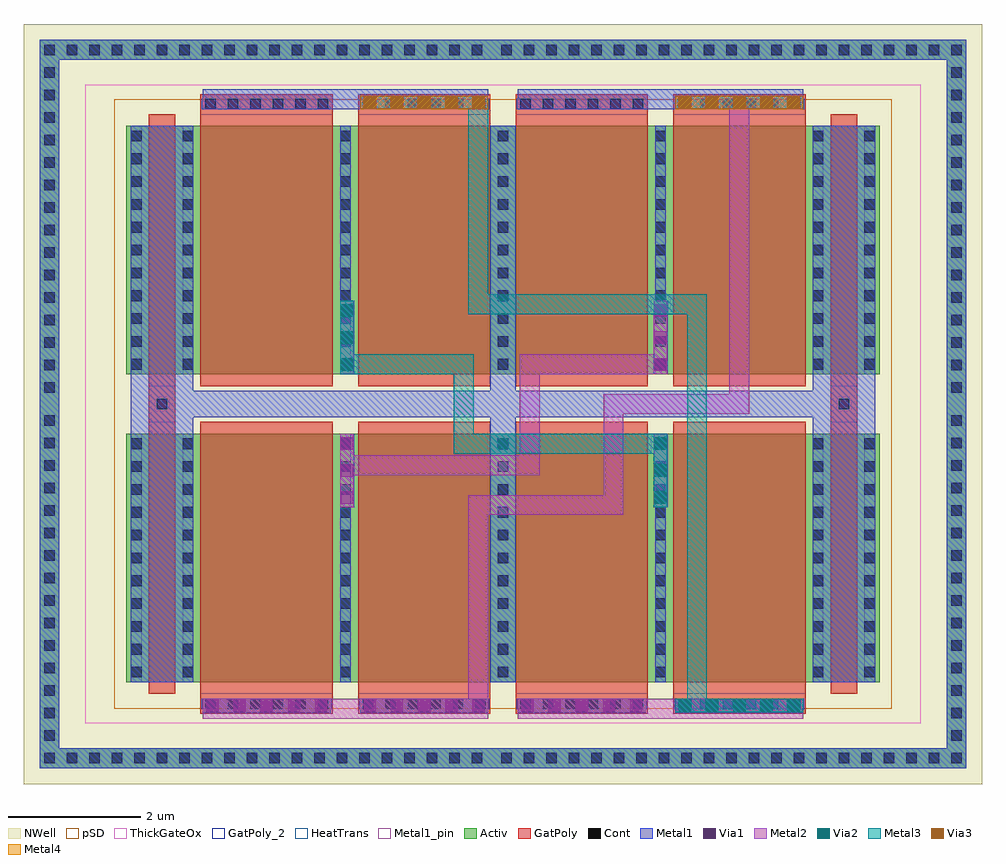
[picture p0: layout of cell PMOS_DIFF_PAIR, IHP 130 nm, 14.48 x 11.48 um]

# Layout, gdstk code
import gdstk
lib = gdstk.Library(unit=1e-6, precision=1e-09)
def R(c, l, rs):  # rectangles x0, y0, x1, y1
    for r in rs: c.add(gdstk.rectangle(r[:2], r[2:], *l))
def A(c, l, x, y, w, h, nx, ny, dx, dy):  # array of equal rectangles
    R(c, l, [(x+i*dx, y+j*dy, x+i*dx+w, y+j*dy+h) for i in range(nx) for j in range(ny)])
def P(c, l, *ps):  # polygons
    for p in ps: c.add(gdstk.Polygon(p, *l))
Activ = (1, 0)
GatPoly = (5, 0)
GatPoly_2 = (5, 2)
Cont = (6, 0)
Metal1 = (8, 0)
Metal1_pin = (8, 2)
Metal2 = (10, 0)
pSD = (14, 0)
Via1 = (19, 0)
Via2 = (29, 0)
Metal3 = (30, 0)
NWell = (31, 0)
ThickGateOx = (44, 0)
Via3 = (49, 0)
Metal4 = (50, 0)
HeatTrans = (51, 0)

guard_ring_3 = lib.new_cell('guard_ring$3')
R(guard_ring_3, Activ, [(-7,-5.2,-6.7,5.2), (6.7,-5.2,7,5.2), (-7,5.2,7,5.5)])
P(guard_ring_3, Activ, [(-7,-5.5),(-7,5.2),(-6.7,5.2),(-6.7,-5.2),(6.7,-5.2),(6.7,5.2),(-7,5.2),(-7,5.5),(7,5.5),(7,-5.5)])
A(guard_ring_3, Cont, -6.93, -5.43, 0.16, 0.16, 20, 2, 0.34, 10.7)
A(guard_ring_3, Cont, -0.03, -5.43, 0.16, 0.16, 21, 2, 0.34, 10.7)
A(guard_ring_3, Cont, -6.93, -5.09, 0.16, 0.16, 1, 15, 0, 0.34)
A(guard_ring_3, Cont, 6.77, -5.09, 0.16, 0.16, 1, 15, 0, 0.34)
A(guard_ring_3, Cont, -6.93, 0.17, 0.16, 0.16, 1, 15, 0, 0.34)
A(guard_ring_3, Cont, 6.77, 0.17, 0.16, 0.16, 1, 15, 0, 0.34)
R(guard_ring_3, Metal1, [(-7,-5.5,7,-5.2), (-7,-5.2,-6.7,5.2), (6.7,-5.2,7,5.2), (-7,5.2,7,5.5)])
R(guard_ring_3, NWell, [(-7.24,-5.74,7.24,5.74)])
guard_ring_3.add(gdstk.Label('well', (0,-5.35), layer=63, texttype=0))

pmoshv_2 = lib.new_cell('pmosHV$2')
A(pmoshv_2, Activ, 0, 0, 0.3, 0.3, 5, 1, 2.38, 0)
R(pmoshv_2, Activ, [(0,0,9.82,3.75)])
A(pmoshv_2, GatPoly, 0.34, -0.18, 2, 4.11, 4, 1, 2.38, 0)
R(pmoshv_2, GatPoly_2, [(0.34,-0.18,2.34,3.93)])
A(pmoshv_2, Cont, 0.07, 0.07, 0.16, 0.16, 5, 11, 2.38, 0.345)
A(pmoshv_2, Metal1, 0.07, 0, 0.16, 3.75, 5, 1, 2.38, 0)
R(pmoshv_2, Metal1_pin, [(0.07,0,0.23,3.75), (2.45,0,2.61,3.75)])
R(pmoshv_2, pSD, [(-0.18,-0.4,10,4.15)])
R(pmoshv_2, NWell, [(-0.62,-0.62,10.44,4.37)])
R(pmoshv_2, ThickGateOx, [(-0.62,-0.62,10.44,4.37)])
A(pmoshv_2, HeatTrans, 0.34, -0.18, 2, 4.11, 4, 1, 2.38, 0)
pmoshv_2.add(gdstk.Label('pmosHV', (1.34,1.875), layer=63, texttype=0))
pmoshv_2.add(gdstk.Label('pmos', (1.34,1.875), layer=51, texttype=0))
pmoshv_2.add(gdstk.Label('pmos', (3.72,1.875), layer=51, texttype=0))
pmoshv_2.add(gdstk.Label('pmos', (6.1,1.875), layer=51, texttype=0))
pmoshv_2.add(gdstk.Label('pmos', (8.48,1.875), layer=51, texttype=0))

via_stack_1 = lib.new_cell('via_stack$1')
R(via_stack_1, GatPoly, [(-1,-0.15,1,0.15)])
A(via_stack_1, Cont, -0.93, -0.08, 0.16, 0.16, 6, 1, 0.34, 0)
R(via_stack_1, Metal1, [(-0.98,-0.08,0.98,0.08)])

via_stack_3 = lib.new_cell('via_stack$3')
R(via_stack_3, Metal1, [(-0.965,-0.105,0.965,0.105)])
R(via_stack_3, Metal2, [(-0.965,-0.1,0.965,0.1)])
A(via_stack_3, Via1, -0.915, -0.095, 0.19, 0.19, 5, 1, 0.41, 0)
A(via_stack_3, Via2, -0.915, -0.095, 0.19, 0.19, 5, 1, 0.41, 0)
R(via_stack_3, Metal3, [(-0.965,-0.1,0.965,0.1)])
A(via_stack_3, Via3, -0.915, -0.095, 0.19, 0.19, 5, 1, 0.41, 0)
R(via_stack_3, Metal4, [(-0.965,-0.1,0.965,0.1)])

via_stack_2 = lib.new_cell('via_stack$2')
R(via_stack_2, Metal1, [(-0.965,-0.105,0.965,0.105)])
R(via_stack_2, Metal2, [(-0.965,-0.1,0.965,0.1)])
A(via_stack_2, Via1, -0.915, -0.095, 0.19, 0.19, 5, 1, 0.41, 0)
A(via_stack_2, Via2, -0.915, -0.095, 0.19, 0.19, 5, 1, 0.41, 0)
R(via_stack_2, Metal3, [(-0.965,-0.1,0.965,0.1)])

pmoshv_1 = lib.new_cell('pmosHV$1')
R(pmoshv_1, Activ, [(0,0,0.3,0.3), (0,0,1.08,3.75), (0.78,0,1.08,0.3)])
R(pmoshv_1, GatPoly, [(0.34,-0.18,0.74,3.93)])
R(pmoshv_1, GatPoly_2, [(0.34,-0.18,0.74,3.93)])
A(pmoshv_1, Cont, 0.07, 0.07, 0.16, 0.16, 1, 11, 0, 0.345)
A(pmoshv_1, Cont, 0.85, 0.07, 0.16, 0.16, 1, 11, 0, 0.345)
R(pmoshv_1, Metal1, [(0.07,0,0.23,3.75), (0.85,0,1.01,3.75)])
R(pmoshv_1, Metal1_pin, [(0.07,0,0.23,3.75), (0.85,0,1.01,3.75)])
R(pmoshv_1, pSD, [(-0.18,-0.4,1.26,4.15)])
R(pmoshv_1, NWell, [(-0.62,-0.62,1.7,4.37)])
R(pmoshv_1, ThickGateOx, [(-0.62,-0.62,1.7,4.37)])
R(pmoshv_1, HeatTrans, [(0.34,-0.18,0.74,3.93)])
pmoshv_1.add(gdstk.Label('pmosHV', (0.54,1.875), layer=63, texttype=0))
pmoshv_1.add(gdstk.Label('pmos', (0.54,1.875), layer=51, texttype=0))

via_stack_9 = lib.new_cell('via_stack$9')
R(via_stack_9, GatPoly, [(-0.15,-0.15,0.15,0.15)])
R(via_stack_9, Cont, [(-0.08,-0.08,0.08,0.08)])
R(via_stack_9, Metal1, [(-0.13,-0.08,0.13,0.08)])

via_stack_6 = lib.new_cell('via_stack$6')
R(via_stack_6, Metal1, [(-0.965,-0.105,0.965,0.105)])
R(via_stack_6, Metal2, [(-0.965,-0.1,0.965,0.1)])
A(via_stack_6, Via1, -0.915, -0.095, 0.19, 0.19, 5, 1, 0.41, 0)

via_stack_4 = lib.new_cell('via_stack$4')
R(via_stack_4, Metal1, [(-0.105,-0.555,0.105,0.555)])
R(via_stack_4, Metal2, [(-0.1,-0.555,0.1,0.555)])
A(via_stack_4, Via1, -0.095, -0.505, 0.19, 0.19, 1, 3, 0, 0.41)

via_stack_7 = lib.new_cell('via_stack$7')
R(via_stack_7, Metal1, [(-0.105,-0.555,0.105,0.555)])
R(via_stack_7, Metal2, [(-0.1,-0.555,0.1,0.555)])
A(via_stack_7, Via1, -0.095, -0.505, 0.19, 0.19, 1, 3, 0, 0.41)
A(via_stack_7, Via2, -0.095, -0.505, 0.19, 0.19, 1, 3, 0, 0.41)
R(via_stack_7, Metal3, [(-0.1,-0.555,0.1,0.555)])

pmos_diff_pair = lib.new_cell('PMOS_DIFF_PAIR')
R(pmos_diff_pair, GatPoly, [(1.89,5.47,2.29,6.01), (12.19,5.47,12.59,6.01)])
R(pmos_diff_pair, Metal1, [(1.62,1.54,2.56,5.54), (7.05,1.54,7.43,9.94), (11.92,1.54,12.86,5.54), (1.62,5.54,12.86,5.94), (1.62,5.94,2.56,9.94), (11.92,5.94,12.86,9.94), (2.705,10.195,7.015,10.495), (7.465,10.195,11.775,10.495)])
R(pmos_diff_pair, Metal2, [(2.705,0.985,7.015,1.285), (7.465,0.985,11.775,1.285), (6.715,1.285,7.015,4.365), (7.015,4.065,9.06,4.365), (8.76,4.365,9.06,5.765), (4.985,4.665,7.495,4.965), (7.495,4.665,7.795,6.19), (8.76,5.59,10.96,5.89), (10.66,5.89,10.96,10.195), (7.495,6.19,9.52,6.49)])
R(pmos_diff_pair, pSD, [(1.37,1.14,13.11,10.34)])
R(pmos_diff_pair, Metal3, [(10.02,1.285,10.32,7.095), (6.715,7.095,7.015,7.695), (6.715,7.095,7.015,10.195), (6.8,7.095,8.065,7.395), (8.065,7.095,10.32,7.395)])
P(pmos_diff_pair, Metal3, [(6.495,4.99),(6.495,6.19),(4.94,6.19),(4.94,6.49),(6.795,6.49),(6.795,5.29),(9.52,5.29),(9.52,4.99)])
pmos_diff_pair.add(gdstk.Reference(guard_ring_3, (7.24,5.74)))
pmos_diff_pair.add(gdstk.Reference(pmoshv_2, (2.33,1.54)))
pmos_diff_pair.add(gdstk.Reference(via_stack_1, (10.81,10.27)))
pmos_diff_pair.add(gdstk.Reference(via_stack_1, (10.81,1.21)))
pmos_diff_pair.add(gdstk.Reference(via_stack_3, (10.81,10.295)))
pmos_diff_pair.add(gdstk.Reference(via_stack_2, (10.81,1.185)))
pmos_diff_pair.add(gdstk.Reference(pmoshv_2, (2.33,6.19)))
pmos_diff_pair.add(gdstk.Reference(pmoshv_1, (11.85,6.19)))
pmos_diff_pair.add(gdstk.Reference(pmoshv_1, (11.85,1.54)))
pmos_diff_pair.add(gdstk.Reference(via_stack_9, (12.39,5.74)))
pmos_diff_pair.add(gdstk.Reference(pmoshv_1, (1.55,6.19)))
pmos_diff_pair.add(gdstk.Reference(pmoshv_1, (1.55,1.54)))
pmos_diff_pair.add(gdstk.Reference(via_stack_1, (3.67,1.21)))
pmos_diff_pair.add(gdstk.Reference(via_stack_1, (3.67,10.27)))
pmos_diff_pair.add(gdstk.Reference(via_stack_6, (3.67,1.185)))
pmos_diff_pair.add(gdstk.Reference(via_stack_1, (6.05,10.27)))
pmos_diff_pair.add(gdstk.Reference(via_stack_1, (8.43,10.27)))
pmos_diff_pair.add(gdstk.Reference(via_stack_1, (6.05,1.21)))
pmos_diff_pair.add(gdstk.Reference(via_stack_1, (8.43,1.21)))
pmos_diff_pair.add(gdstk.Reference(via_stack_3, (6.05,10.295)))
pmos_diff_pair.add(gdstk.Reference(via_stack_6, (6.05,1.185)))
pmos_diff_pair.add(gdstk.Reference(via_stack_6, (8.43,1.185)))
pmos_diff_pair.add(gdstk.Reference(via_stack_9, (2.09,5.74)))
pmos_diff_pair.add(gdstk.Reference(via_stack_4, (9.62,6.745)))
pmos_diff_pair.add(gdstk.Reference(via_stack_4, (4.885,4.735)))
pmos_diff_pair.add(gdstk.Reference(via_stack_7, (9.62,4.735)))
pmos_diff_pair.add(gdstk.Reference(via_stack_7, (4.885,6.745)))

lib.write_gds('PMOS_DIFF_PAIR.gds')
